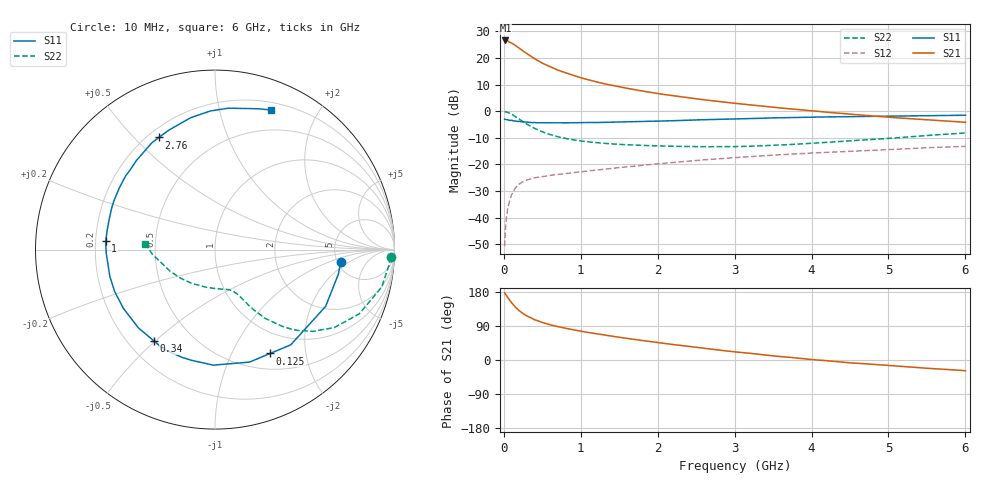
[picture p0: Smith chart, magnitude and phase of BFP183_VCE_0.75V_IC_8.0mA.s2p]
! Infineon Technologies  Discrete & RF Semiconductors
! BFP183
! VCE = 0.75V,  IC =  8.0 mA
! Common Emitter S-Parameters:  Jan 2016
# GHz  S  MA  R  50
!  f  S11  S21  S12  S22
! GHz  MAG  ANG  MAG  ANG  MAG  ANG  MAG  ANG
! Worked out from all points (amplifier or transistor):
!   210 points, 10 MHz to 6 GHz, reference 50 ohm
!   highest |S21| = 26.6 dB at 20 MHz (marker M1)
!   |S21| within 3 dB of that: start of sweep to 204.9 MHz
!   unconditionally stable (mu >= 1): 1.133 GHz to end of sweep
!   at 185 MHz: K = 0.24, MSG = 25.9 dB, |S12| = -27.9 dB
!   at 1.52 GHz: K = 1.14, MAG = 12.8 dB, |S12| = -21.2 dB
!   at 6 GHz: K = 1.05, MAG = 3.1 dB, |S12| = -13.2 dB
!   S11 on the Smith chart (normalised r, x): 10 MHz: 5.37, -1.44; 125 MHz: 0.70, -1.42; 340 MHz: 0.30, -0.49; 1 GHz: 0.24, +0.04; 2.76 GHz: 0.24, +0.59; 6 GHz: 0.28, +1.44
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0.01  0.7043 -5.5  21.25 177.1  0.0029 86.5  0.9795 -2.5
0.02  0.7007 -11.3  21.3 174.3  0.006 85.5  0.973 -5.2
0.05  0.6928 -27.2  20.8 164.8  0.0146 79.8  0.9521 -12.7
0.1  0.678 -51.5  19.08 151.2  0.0267 66.2  0.8797 -24.0
0.125  0.6552 -62.0  18.05 145.6  0.0313 61.1  0.8341 -28.4
0.15  0.6556 -72.9  17.21 139.4  0.0361 57.4  0.7939 -33.2
0.2  0.6438 -90.8  15.27 129.9  0.0424 51.0  0.7103 -39.9
0.24  0.6307 -102.0  13.79 123.9  0.0464 46.9  0.6491 -44.0
0.3  0.6241 -117.2  12.04 116.1  0.0509 42.4  0.5684 -48.8
0.34  0.612 -123.9  11.05 112.7  0.0528 40.5  0.53 -50.6
0.4  0.6102 -134.3  9.672 106.2  0.0558 38.0  0.4737 -53.9
0.5  0.6066 -147.4  7.98 99.0  0.059 35.4  0.4094 -56.8
0.6  0.6059 -157.4  6.861 93.0  0.0622 34.3  0.3635 -58.8
1  0.6107 175.7  4.236 76.0  0.0723 34.3  0.2751 -63.5
1.02  0.6103 174.7  4.163 75.3  0.0729 34.4  0.2729 -63.8
1.5  0.6255 154.4  2.864 59.9  0.0868 35.7  0.2369 -70.6
2.02  0.649 136.6  2.117 45.6  0.103 35.4  0.2225 -81.2
2.76  0.6989 116.6  1.538 27.0  0.1264 32.5  0.2152 -101.6
3.1  0.7187 108.8  1.358 19.6  0.1368 30.5  0.2168 -112.6
4.1  0.7753 90.5  0.984 -0.3  0.1656 23.9  0.2539 -143.4
5.1  0.806 77.2  0.751 -15.8  0.1915 17.6  0.3149 -168.1
6  0.8378 68.2  0.618 -28.2  0.2177 9.9  0.389 175.3
